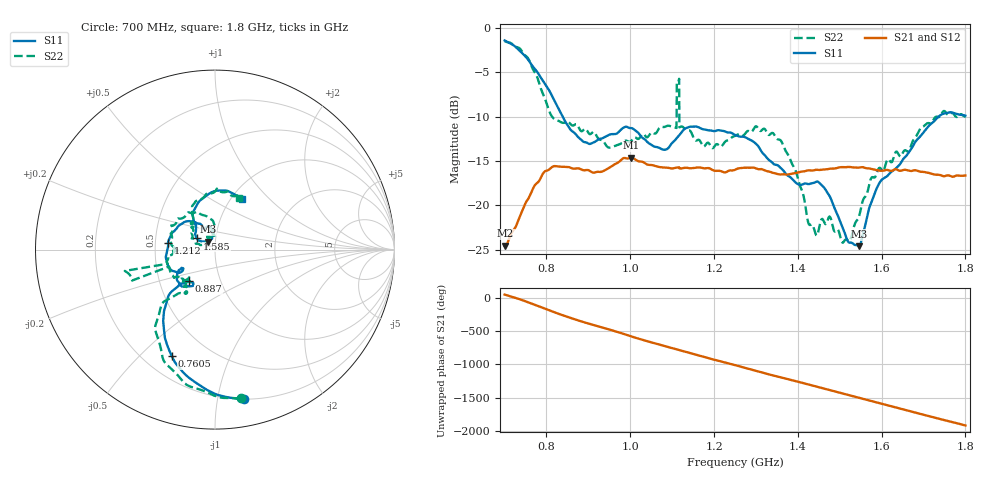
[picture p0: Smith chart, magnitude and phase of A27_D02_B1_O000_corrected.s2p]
! Created with skrf 1.9.0 (http://scikit-rf.org).
# Hz S RI R 50.0
!freq ReS11 ImS11 ReS21 ImS21 ReS12 ImS12 ReS22 ImS22
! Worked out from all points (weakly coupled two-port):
!   1601 points, 700 MHz to 1.8 GHz, reference 50 ohm
!   highest |S21| = -14.63 dB at 1.002 GHz (marker M1); lowest = -24.6 dB at 701.4 MHz (marker M2)
!   lowest |S11| = -24.6 dB at 1.546 GHz (marker M3), VSWR 1.12, Z = 46.1 + j4.09 ohm
!   |S11| at or under -10 dB: 838.6 MHz to 1.736 GHz (897.4 MHz wide, 69.7 % of centre)
!   |S22| runs from -24.2 to -1.5 dB; largest |S21 - S12| = 0.0034
!   S11 on the Smith chart (normalised r, x): 700 MHz: 0.20, -1.19; 760.5 MHz: 0.31, -0.63; 887 MHz: 0.71, -0.26; 1.212 GHz: 0.58, +0.05; 1.585 GHz: 0.81, +0.10; 1.8 GHz: 1.12, +0.70
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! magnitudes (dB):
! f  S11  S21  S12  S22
! 700 MHz  -1.4  -24.6  -24.4  -1.5
! 701.4 MHz  -1.4  -24.6  -24.2  -1.5
! 760.5 MHz  -3.9  -18.9  -18.8  -3.9
! 814.1 MHz  -7.8  -15.7  -15.7  -10.1
! 883.6 MHz  -12.7  -16.0  -15.9  -11.7
! 887 MHz  -12.8  -16.0  -15.9  -11.6
! 1.002 GHz  -11.3  -14.6  -14.7  -12.7
! 1.067 GHz  -13.5  -15.7  -15.6  -11.4
! 1.105 GHz  -12.8  -15.8  -15.8  -11.2
! 1.117 GHz  -12.1  -15.7  -15.7  -5.7
! 1.123 GHz  -11.8  -15.9  -15.8  -11.1
! 1.212 GHz  -11.5  -16.1  -16.1  -13.3
! 1.25 GHz  -12.1  -16.0  -15.9  -12.2
! 1.359 GHz  -15.8  -16.5  -16.5  -12.7
! 1.434 GHz  -17.5  -16.1  -16.0  -22.2
! 1.471 GHz  -18.6  -15.9  -15.9  -21.8
! 1.521 GHz  -24.2  -15.7  -15.7  -24.0
! 1.546 GHz  -24.6  -15.8  -15.7  -21.2
! 1.585 GHz  -18.5  -16.0  -16.0  -16.8
! 1.617 GHz  -16.5  -16.1  -16.0  -14.9
! 1.738 GHz  -9.9  -16.6  -16.6  -10.0
! 1.8 GHz  -9.9  -16.7  -16.6  -10.0
